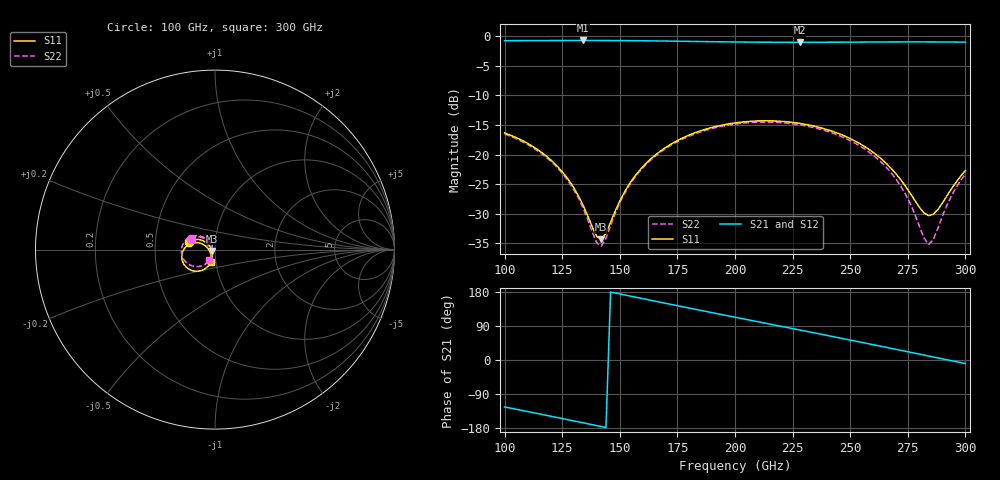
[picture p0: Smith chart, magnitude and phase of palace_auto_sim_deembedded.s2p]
! Created with skrf 1.11.0 (http://scikit-rf.org).
# GHz S DB R 50.0
!freq dBS11 angS11 dBS21 angS21 dBS12 angS12 dBS22 angS22
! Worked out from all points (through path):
!   101 points, 100 GHz to 300 GHz, reference 50 ohm
!   highest |S21| = -0.76 dB at 134 GHz (marker M1); lowest = -1.1 dB at 228 GHz (marker M2)
!   group delay of S21, straight-line fit = 3.4 ps
!   lowest |S11| = -34.3 dB at 142 GHz (marker M3), VSWR 1.04, Z = 48.2 - j0.681 ohm
!   |S11| at or under -10 dB: start of sweep to end of sweep
!   |S22| runs from -35.5 to -14.5 dB; largest |S21 - S12| = 1.1e-14
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100  -16.36 163.5  -0.80 -123.9  -0.80 -123.9  -16.54 155.5
120  -20.90 144.9  -0.77 -148.3  -0.77 -148.3  -21.12 134.8
128  -24.41 141.7  -0.76 -158.2  -0.76 -158.2  -24.71 130.4
134  -28.51 146.7  -0.76 -165.7  -0.76 -165.7  -28.97 134.1
140  -33.82 179.2  -0.77 -173.1  -0.77 -173.1  -34.92 167.4
142  -34.30 -158.5  -0.77 -175.6  -0.77 -175.6  -35.46 -167.5
154  -25.06 -107.9  -0.79 169.4  -0.79 169.4  -25.30 -117.3
168  -19.32 -114.4  -0.85 152.0  -0.85 152.0  -19.50 -126.0
182  -16.42 -127.4  -0.93 134.8  -0.93 134.8  -16.60 -140.7
200  -14.67 -145.7  -1.02 112.9  -1.02 112.9  -14.87 -160.9
214  -14.32 -160.0  -1.06 96.1  -1.06 96.1  -14.53 -176.7
228  -14.74 -174.1  -1.07 79.3  -1.07 79.3  -14.99 167.5
234  -15.18 -180.0  -1.07 72.1  -1.07 72.1  -15.45 160.8
254  -18.12 162.4  -1.04 47.7  -1.04 47.7  -18.52 139.6
268  -22.43 156.3  -1.01 30.5  -1.01 30.5  -23.19 128.8
274  -25.35 160.1  -1.01 23.0  -1.01 23.0  -26.69 129.0
282  -29.84 -172.2  -1.01 13.1  -1.01 13.1  -34.07 158.8
284  -30.31 -158.8  -1.01 10.6  -1.01 10.6  -35.16 -178.3
286  -30.10 -145.0  -1.01 8.1  -1.01 8.1  -34.41 -154.2
288  -29.31 -132.9  -1.02 5.6  -1.02 5.6  -32.48 -137.5
294  -25.76 -113.1  -1.03 -1.9  -1.03 -1.9  -26.94 -120.5
300  -22.69 -108.2  -1.05 -9.4  -1.05 -9.4  -23.30 -119.9
